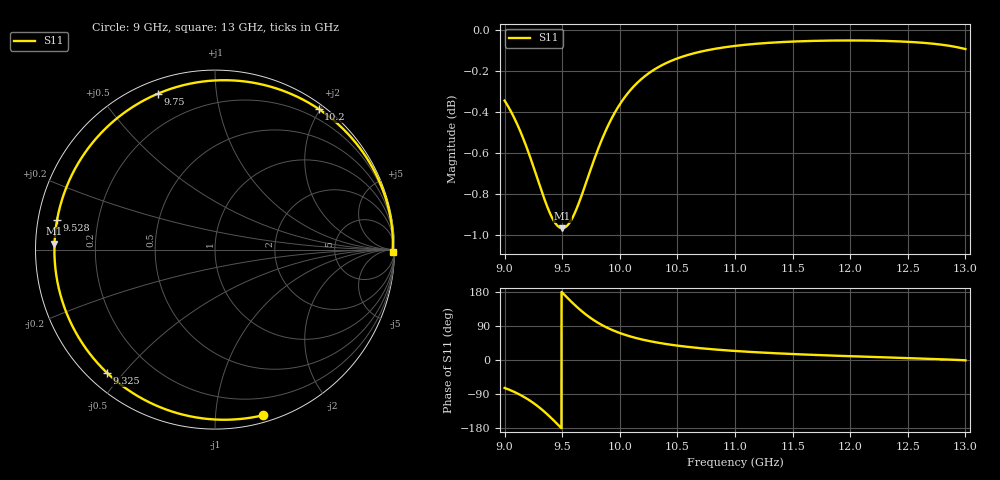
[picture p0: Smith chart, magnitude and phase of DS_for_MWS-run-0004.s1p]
! TOUCHSTONE file generated by CST DESIGN STUDIO
! Date and time: Tue Feb  4 17:14:53 2025
! Project name: C:\Work\MatlabApps\UnitCellOptimizationMatlab\CST\unitcell.cst
! Tree item: Tasks\Sweep1\SPara1\S-Parameters
! Header version: 2024
! Port assignment regex: !\s*Touchstone port\s*([0-9]+)\s*=\s*(CST MWS port|CST DES external port|CST DES block port)\s*(.+)\s* \(\"(.*)\"\)(\s*mode\s*([0-9]+))?.*
! Touchstone port assignment:
! Touchstone port 1 = CST DES external port 1 ("")
# GHz S MA R 50
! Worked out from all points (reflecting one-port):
!   4001 points, 9 GHz to 13 GHz, reference 50 ohm
!   lowest |S11| = -1.0 dB at 9.5 GHz (marker M1), VSWR 18.02, Z = 2.78 + j0.91 ohm
!   phase of S11 starts at -74 deg and turns -287 deg over the sweep
!   S11 on the Smith chart (normalised r, x): 9 GHz: 0.06, -1.33; 9.325 GHz: 0.05, -0.45; 9.528 GHz: 0.06, +0.09; 9.75 GHz: 0.06, +0.70; 10.2 GHz: 0.07, +1.98; 13 GHz: open
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9  0.9611 -73.7
9.085  0.9516 -84.4
9.187  0.9369 -100.9
9.259  0.9246 -115.4
9.325  0.913 -131.2
9.371  0.9055 -143.5
9.42  0.8992 -157.6
9.461  0.8959 -170.0
9.5  0.8948 177.9
9.528  0.8954 169.3
9.581  0.8992 153.3
9.642  0.9071 136.0
9.695  0.9158 122.5
9.75  0.9253 110.1
9.801  0.9337 100.0
9.857  0.9422 90.3
9.928  0.9514 79.9
10  0.9591 71.2
10.095  0.9669 61.8
10.2  0.9734 53.6
10.338  0.9794 45.3
10.5  0.984 37.9
10.722  0.988 30.5
11  0.9909 23.9
11.5  0.9933 15.8
12  0.994 10.0
12.5  0.9932 5.0
13  0.9892 -0.8
